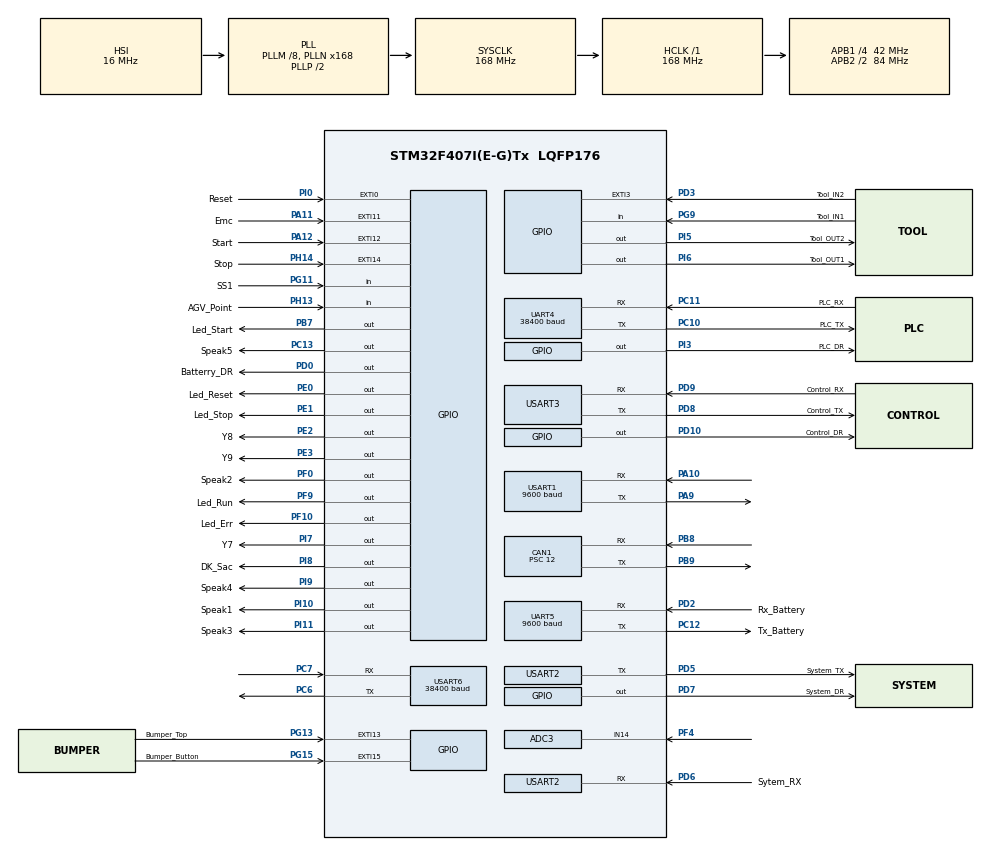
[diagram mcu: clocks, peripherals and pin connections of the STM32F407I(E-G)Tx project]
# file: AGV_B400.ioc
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ADC3.Channel-0\#ChannelRegularConversion=ADC_CHANNEL_14
ADC3.NbrOfConversionFlag=1
ADC3.Rank-0\#ChannelRegularConversion=1
ADC3.SamplingTime-0\#ChannelRegularConversion=ADC_SAMPLETIME_3CYCLES
CAN1.BS1=CAN_BS1_4TQ
CAN1.BS2=CAN_BS2_2TQ
CAN1.CalculateBaudRate=500000
CAN1.CalculateTimeBit=2000
CAN1.CalculateTimeQuantum=285.7142857142857
CAN1.Prescaler=12
Dma.ADC3.12.Direction=DMA_PERIPH_TO_MEMORY
Dma.ADC3.12.FIFOMode=DMA_FIFOMODE_DISABLE
Dma.ADC3.12.Instance=DMA2_Stream0
Dma.ADC3.12.MemDataAlignment=DMA_MDATAALIGN_HALFWORD
Dma.ADC3.12.MemInc=DMA_MINC_ENABLE
Dma.ADC3.12.Mode=DMA_NORMAL
Dma.ADC3.12.PeriphDataAlignment=DMA_PDATAALIGN_HALFWORD
Dma.ADC3.12.PeriphInc=DMA_PINC_DISABLE
Dma.ADC3.12.Priority=DMA_PRIORITY_LOW
Dma.Request0=UART4_RX
Dma.Request1=UART4_TX
Dma.Request10=USART6_RX
Dma.Request11=USART6_TX
Dma.Request12=ADC3
Dma.Request2=UART5_RX
Dma.Request3=UART5_TX
Dma.Request4=USART1_RX
Dma.Request5=USART1_TX
Dma.Request6=USART2_RX
Dma.Request7=USART2_TX
Dma.Request8=USART3_RX
Dma.Request9=USART3_TX
Dma.UART4_RX.0.Direction=DMA_PERIPH_TO_MEMORY
Dma.UART4_RX.0.FIFOMode=DMA_FIFOMODE_DISABLE
Dma.UART4_RX.0.Instance=DMA1_Stream2
Dma.UART4_RX.0.MemDataAlignment=DMA_MDATAALIGN_BYTE
Dma.UART4_RX.0.MemInc=DMA_MINC_ENABLE
Dma.UART4_RX.0.Mode=DMA_NORMAL
Dma.UART4_RX.0.PeriphDataAlignment=DMA_PDATAALIGN_BYTE
Dma.UART4_RX.0.PeriphInc=DMA_PINC_DISABLE
Dma.UART4_RX.0.Priority=DMA_PRIORITY_LOW
Dma.UART4_TX.1.Direction=DMA_MEMORY_TO_PERIPH
Dma.UART4_TX.1.FIFOMode=DMA_FIFOMODE_DISABLE
Dma.UART4_TX.1.Instance=DMA1_Stream4
Dma.UART4_TX.1.MemDataAlignment=DMA_MDATAALIGN_BYTE
Dma.UART4_TX.1.MemInc=DMA_MINC_ENABLE
Dma.UART4_TX.1.Mode=DMA_NORMAL
Dma.UART4_TX.1.PeriphDataAlignment=DMA_PDATAALIGN_BYTE
Dma.UART4_TX.1.PeriphInc=DMA_PINC_DISABLE
Dma.UART4_TX.1.Priority=DMA_PRIORITY_LOW
Dma.UART5_RX.2.Direction=DMA_PERIPH_TO_MEMORY
Dma.UART5_RX.2.FIFOMode=DMA_FIFOMODE_DISABLE
Dma.UART5_RX.2.Instance=DMA1_Stream0
Dma.UART5_RX.2.MemDataAlignment=DMA_MDATAALIGN_BYTE
Dma.UART5_RX.2.MemInc=DMA_MINC_ENABLE
Dma.UART5_RX.2.Mode=DMA_NORMAL
Dma.UART5_RX.2.PeriphDataAlignment=DMA_PDATAALIGN_BYTE
Dma.UART5_RX.2.PeriphInc=DMA_PINC_DISABLE
Dma.UART5_RX.2.Priority=DMA_PRIORITY_LOW
Dma.UART5_TX.3.Direction=DMA_MEMORY_TO_PERIPH
Dma.UART5_TX.3.FIFOMode=DMA_FIFOMODE_DISABLE
Dma.UART5_TX.3.Instance=DMA1_Stream7
Dma.UART5_TX.3.MemDataAlignment=DMA_MDATAALIGN_BYTE
Dma.UART5_TX.3.MemInc=DMA_MINC_ENABLE
Dma.UART5_TX.3.Mode=DMA_NORMAL
Dma.UART5_TX.3.PeriphDataAlignment=DMA_PDATAALIGN_BYTE
Dma.UART5_TX.3.PeriphInc=DMA_PINC_DISABLE
Dma.UART5_TX.3.Priority=DMA_PRIORITY_LOW
Dma.USART1_RX.4.Direction=DMA_PERIPH_TO_MEMORY
Dma.USART1_RX.4.FIFOMode=DMA_FIFOMODE_DISABLE
Dma.USART1_RX.4.Instance=DMA2_Stream2
Dma.USART1_RX.4.MemDataAlignment=DMA_MDATAALIGN_BYTE
Dma.USART1_RX.4.MemInc=DMA_MINC_ENABLE
Dma.USART1_RX.4.Mode=DMA_NORMAL
Dma.USART1_RX.4.PeriphDataAlignment=DMA_PDATAALIGN_BYTE
Dma.USART1_RX.4.PeriphInc=DMA_PINC_DISABLE
Dma.USART1_RX.4.Priority=DMA_PRIORITY_LOW
Dma.USART1_TX.5.Direction=DMA_MEMORY_TO_PERIPH
Dma.USART1_TX.5.FIFOMode=DMA_FIFOMODE_DISABLE
Dma.USART1_TX.5.Instance=DMA2_Stream7
Dma.USART1_TX.5.MemDataAlignment=DMA_MDATAALIGN_BYTE
Dma.USART1_TX.5.MemInc=DMA_MINC_ENABLE
Dma.USART1_TX.5.Mode=DMA_NORMAL
Dma.USART1_TX.5.PeriphDataAlignment=DMA_PDATAALIGN_BYTE
Dma.USART1_TX.5.PeriphInc=DMA_PINC_DISABLE
Dma.USART1_TX.5.Priority=DMA_PRIORITY_LOW
Dma.USART2_RX.6.Direction=DMA_PERIPH_TO_MEMORY
Dma.USART2_RX.6.FIFOMode=DMA_FIFOMODE_DISABLE
Dma.USART2_RX.6.Instance=DMA1_Stream5
Dma.USART2_RX.6.MemDataAlignment=DMA_MDATAALIGN_BYTE
Dma.USART2_RX.6.MemInc=DMA_MINC_ENABLE
Dma.USART2_RX.6.Mode=DMA_NORMAL
Dma.USART2_RX.6.PeriphDataAlignment=DMA_PDATAALIGN_BYTE
Dma.USART2_RX.6.PeriphInc=DMA_PINC_DISABLE
Dma.USART2_RX.6.Priority=DMA_PRIORITY_LOW
Dma.USART2_TX.7.Direction=DMA_MEMORY_TO_PERIPH
Dma.USART2_TX.7.FIFOMode=DMA_FIFOMODE_DISABLE
Dma.USART2_TX.7.Instance=DMA1_Stream6
Dma.USART2_TX.7.MemDataAlignment=DMA_MDATAALIGN_BYTE
Dma.USART2_TX.7.MemInc=DMA_MINC_ENABLE
Dma.USART2_TX.7.Mode=DMA_NORMAL
Dma.USART2_TX.7.PeriphDataAlignment=DMA_PDATAALIGN_BYTE
Dma.USART2_TX.7.PeriphInc=DMA_PINC_DISABLE
Dma.USART2_TX.7.Priority=DMA_PRIORITY_LOW
Dma.USART3_RX.8.Direction=DMA_PERIPH_TO_MEMORY
Dma.USART3_RX.8.FIFOMode=DMA_FIFOMODE_DISABLE
Dma.USART3_RX.8.Instance=DMA1_Stream1
Dma.USART3_RX.8.MemDataAlignment=DMA_MDATAALIGN_BYTE
Dma.USART3_RX.8.MemInc=DMA_MINC_ENABLE
Dma.USART3_RX.8.Mode=DMA_NORMAL
Dma.USART3_RX.8.PeriphDataAlignment=DMA_PDATAALIGN_BYTE
Dma.USART3_RX.8.PeriphInc=DMA_PINC_DISABLE
Dma.USART3_RX.8.Priority=DMA_PRIORITY_LOW
Dma.USART3_TX.9.Direction=DMA_MEMORY_TO_PERIPH
Dma.USART3_TX.9.FIFOMode=DMA_FIFOMODE_DISABLE
Dma.USART3_TX.9.Instance=DMA1_Stream3
Dma.USART3_TX.9.MemDataAlignment=DMA_MDATAALIGN_BYTE
Dma.USART3_TX.9.MemInc=DMA_MINC_ENABLE
Dma.USART3_TX.9.Mode=DMA_NORMAL
Dma.USART3_TX.9.PeriphDataAlignment=DMA_PDATAALIGN_BYTE
Dma.USART3_TX.9.PeriphInc=DMA_PINC_DISABLE
Dma.USART3_TX.9.Priority=DMA_PRIORITY_LOW
Dma.USART6_RX.10.Direction=DMA_PERIPH_TO_MEMORY
Dma.USART6_RX.10.FIFOMode=DMA_FIFOMODE_DISABLE
Dma.USART6_RX.10.Instance=DMA2_Stream1
Dma.USART6_RX.10.MemDataAlignment=DMA_MDATAALIGN_BYTE
Dma.USART6_RX.10.MemInc=DMA_MINC_ENABLE
Dma.USART6_RX.10.Mode=DMA_NORMAL
Dma.USART6_RX.10.PeriphDataAlignment=DMA_PDATAALIGN_BYTE
Dma.USART6_RX.10.PeriphInc=DMA_PINC_DISABLE
Dma.USART6_RX.10.Priority=DMA_PRIORITY_LOW
Dma.USART6_TX.11.Direction=DMA_MEMORY_TO_PERIPH
Dma.USART6_TX.11.FIFOMode=DMA_FIFOMODE_DISABLE
Dma.USART6_TX.11.Instance=DMA2_Stream6
Dma.USART6_TX.11.MemDataAlignment=DMA_MDATAALIGN_BYTE
Dma.USART6_TX.11.MemInc=DMA_MINC_ENABLE
Dma.USART6_TX.11.Mode=DMA_NORMAL
Dma.USART6_TX.11.PeriphDataAlignment=DMA_PDATAALIGN_BYTE
Dma.USART6_TX.11.PeriphInc=DMA_PINC_DISABLE
Dma.USART6_TX.11.Priority=DMA_PRIORITY_LOW
FREERTOS.Tasks01=AGV_RunTask,24,256,StartAGV_RunTask,Default,NULL,Dynamic,NULL,NULL;AGV_Read,24,128,AGV_ReadTask,Default,NULL,Dynamic,NULL,NULL;AGV_Control,24,128,StartTask03,Default,NULL,Dynamic,NULL,NULL;AGV_Emc,24,128,StartTask04,Default,NULL,Dynamic,NULL,NULL;Task_Normal,24,128,StartTask05,Default,NULL,Dynamic,NULL,NULL
Mcu.Family=STM32F4
Mcu.Name=STM32F407I(E-G)Tx
Mcu.Package=LQFP176
NVIC.ADC_IRQn=true\:5\:0\:false\:false\:true\:true\:true\:true\:true
NVIC.CAN1_RX0_IRQn=true\:8\:0\:true\:false\:true\:true\:true\:true\:true
NVIC.CAN1_TX_IRQn=true\:8\:0\:true\:false\:true\:true\:true\:true\:true
NVIC.DMA1_Stream0_IRQn=true\:5\:0\:false\:false\:true\:true\:false\:true\:true
NVIC.DMA1_Stream1_IRQn=true\:5\:0\:false\:false\:true\:true\:false\:true\:true
NVIC.DMA1_Stream2_IRQn=true\:5\:0\:false\:false\:true\:true\:false\:true\:true
NVIC.DMA1_Stream3_IRQn=true\:5\:0\:false\:false\:true\:true\:false\:true\:true
NVIC.DMA1_Stream4_IRQn=true\:5\:0\:false\:false\:true\:true\:false\:true\:true
NVIC.DMA1_Stream5_IRQn=true\:5\:0\:false\:false\:true\:true\:false\:true\:true
NVIC.DMA1_Stream6_IRQn=true\:5\:0\:false\:false\:true\:true\:false\:true\:true
NVIC.DMA1_Stream7_IRQn=true\:5\:0\:false\:false\:true\:true\:false\:true\:true
NVIC.DMA2_Stream0_IRQn=true\:5\:0\:false\:false\:true\:true\:false\:true\:true
NVIC.DMA2_Stream1_IRQn=true\:5\:0\:false\:false\:true\:true\:false\:true\:true
NVIC.DMA2_Stream2_IRQn=true\:5\:0\:false\:false\:true\:true\:false\:true\:true
NVIC.DMA2_Stream6_IRQn=true\:5\:0\:false\:false\:true\:true\:false\:true\:true
NVIC.DMA2_Stream7_IRQn=true\:5\:0\:false\:false\:true\:true\:false\:true\:true
NVIC.EXTI0_IRQn=true\:5\:0\:false\:false\:true\:true\:true\:true\:true
NVIC.EXTI15_10_IRQn=true\:5\:0\:true\:false\:true\:true\:true\:true\:true
NVIC.EXTI3_IRQn=true\:5\:0\:false\:false\:true\:true\:true\:true\:true
NVIC.PriorityGroup=NVIC_PRIORITYGROUP_4
NVIC.TIM1_BRK_TIM9_IRQn=true\:5\:0\:false\:false\:true\:true\:true\:true\:true
NVIC.TIM8_TRG_COM_TIM14_IRQn=true\:15\:0\:false\:false\:true\:false\:false\:true\:true
NVIC.TimeBase=TIM8_TRG_COM_TIM14_IRQn
NVIC.TimeBaseIP=TIM14
NVIC.UART4_IRQn=true\:5\:0\:false\:false\:true\:true\:true\:true\:true
NVIC.UART5_IRQn=true\:5\:0\:false\:false\:true\:true\:true\:true\:true
NVIC.USART1_IRQn=true\:5\:0\:false\:false\:true\:true\:true\:true\:true
NVIC.USART2_IRQn=true\:5\:0\:false\:false\:true\:true\:true\:true\:true
NVIC.USART3_IRQn=true\:5\:0\:false\:false\:true\:true\:true\:true\:true
NVIC.USART6_IRQn=true\:5\:0\:true\:false\:true\:true\:true\:true\:true
PA10.Mode=Asynchronous
PA10.Signal=USART1_RX
PA11.GPIO_Label=Emc
PA11.GPIO_ModeDefaultEXTI=GPIO_MODE_IT_RISING_FALLING
PA11.Signal=GPXTI11
PA12.GPIO_Label=Start
PA12.GPIO_ModeDefaultEXTI=GPIO_MODE_IT_FALLING
PA12.Signal=GPXTI12
PA13.Mode=Serial_Wire
PA13.Signal=SYS_JTMS-SWDIO
PA14.Mode=Serial_Wire
PA14.Signal=SYS_JTCK-SWCLK
PA9.Mode=Asynchronous
PA9.Signal=USART1_TX
PB7.GPIO_Label=Led_Start
PB7.Signal=GPIO_Output
PB8.Mode=CAN_Activate
PB8.Signal=CAN1_RX
PB9.Mode=CAN_Activate
PB9.Signal=CAN1_TX
PC10.GPIO_Label=PLC_TX
PC10.Mode=Asynchronous
PC10.Signal=UART4_TX
PC11.GPIO_Label=PLC_RX
PC11.Mode=Asynchronous
PC11.Signal=UART4_RX
PC12.GPIO_Label=Tx_Battery
PC12.Mode=Asynchronous
PC12.Signal=UART5_TX
PC13-ANTI_TAMP.GPIO_Label=Speak5
PC13-ANTI_TAMP.Signal=GPIO_Output
PC6.Mode=Asynchronous
PC6.Signal=USART6_TX
PC7.Mode=Asynchronous
PC7.Signal=USART6_RX
PD0.GPIO_Label=Batterry_DR
PD0.Signal=GPIO_Output
PD10.GPIO_Label=Control_DR
PD10.Signal=GPIO_Output
PD2.GPIO_Label=Rx_Battery
PD2.Mode=Asynchronous
PD2.Signal=UART5_RX
PD3.GPIO_Label=Tool_IN2
PD3.GPIO_ModeDefaultEXTI=GPIO_MODE_IT_FALLING
PD3.Signal=GPXTI3
PD5.GPIO_Label=System_TX
PD5.Mode=Asynchronous
PD5.Signal=USART2_TX
PD6.GPIO_Label=Sytem_RX
PD6.Mode=Asynchronous
PD6.Signal=USART2_RX
PD7.GPIO_Label=System_DR
PD7.Signal=GPIO_Output
PD8.GPIO_Label=Control_TX
PD8.Mode=Asynchronous
PD8.Signal=USART3_TX
PD9.GPIO_Label=Control_RX
PD9.Mode=Asynchronous
PD9.Signal=USART3_RX
PE0.GPIO_Label=Led_Reset
PE0.Signal=GPIO_Output
PE1.GPIO_Label=Led_Stop
PE1.Signal=GPIO_Output
PE2.GPIO_Label=Y8
PE2.Signal=GPIO_Output
PE3.GPIO_Label=Y9
PE3.Signal=GPIO_Output
PF0.GPIO_Label=Speak2
PF0.Signal=GPIO_Output
PF10.GPIO_Label=Led_Err
PF10.Signal=GPIO_Output
PF4.Mode=IN14
PF4.Signal=ADC3_IN14
PF9.GPIO_Label=Led_Run
PF9.Signal=GPIO_Output
PG11.GPIO_Label=SS1
PG11.Signal=GPIO_Input
PG13.GPIO_Label=Bumper_Top
PG13.GPIO_ModeDefaultEXTI=GPIO_MODE_IT_FALLING
PG13.Signal=GPXTI13
PG15.GPIO_Label=Bumper_Button
PG15.GPIO_ModeDefaultEXTI=GPIO_MODE_IT_FALLING
PG15.Signal=GPXTI15
PG9.GPIO_Label=Tool_IN1
PG9.Signal=GPIO_Input
PH0-OSC_IN.Mode=HSE-External-Oscillator
PH0-OSC_IN.Signal=RCC_OSC_IN
PH1-OSC_OUT.Mode=HSE-External-Oscillator
PH1-OSC_OUT.Signal=RCC_OSC_OUT
PH13.GPIO_Label=AGV_Point
PH13.Signal=GPIO_Input
PH14.GPIO_Label=Stop
PH14.GPIO_ModeDefaultEXTI=GPIO_MODE_IT_FALLING
PH14.Signal=GPXTI14
PI0.GPIO_Label=Reset
PI0.GPIO_ModeDefaultEXTI=GPIO_MODE_IT_FALLING
PI0.Signal=GPXTI0
PI10.GPIO_Label=Speak1
PI10.Signal=GPIO_Output
PI11.GPIO_Label=Speak3
PI11.Signal=GPIO_Output
PI3.GPIO_Label=PLC_DR
PI3.GPIO_Speed=GPIO_SPEED_FREQ_VERY_HIGH
PI3.Signal=GPIO_Output
PI5.GPIO_Label=Tool_OUT2
PI5.Signal=GPIO_Output
PI6.GPIO_Label=Tool_OUT1
PI6.Signal=GPIO_Output
PI7.GPIO_Label=Y7
PI7.Signal=GPIO_Output
PI8-\ ANTI\ TAMP2.GPIO_Label=DK_Sac
PI8-\ ANTI\ TAMP2.Signal=GPIO_Output
PI9.GPIO_Label=Speak4
PI9.Signal=GPIO_Output
ProjectManager.HeapSize=0x200
ProjectManager.StackSize=0x400
ProjectManager.TargetToolchain=MDK-ARM V5.32
RCC.48MHZClocksFreq_Value=84000000
RCC.AHBFreq_Value=168000000
RCC.APB1CLKDivider=RCC_HCLK_DIV4
RCC.APB1Freq_Value=42000000
RCC.APB1TimFreq_Value=84000000
RCC.APB2CLKDivider=RCC_HCLK_DIV2
RCC.APB2Freq_Value=84000000
RCC.APB2TimFreq_Value=168000000
RCC.CortexFreq_Value=168000000
RCC.HCLKFreq_Value=168000000
RCC.HSE_VALUE=8000000
RCC.HSI_VALUE=16000000
RCC.LSE_VALUE=32768
RCC.PLLM=8
RCC.PLLN=168
RCC.SYSCLKFreq_VALUE=168000000
RCC.SYSCLKSource=RCC_SYSCLKSOURCE_PLLCLK
RCC.VCOOutputFreq_Value=336000000
TIM9.Period=1999
TIM9.Prescaler=4199
UART4.BaudRate=38400
UART4.VirtualMode=Asynchronous
UART5.BaudRate=9600
UART5.VirtualMode=Asynchronous
USART1.BaudRate=9600
USART1.VirtualMode=VM_ASYNC
USART2.BaudRate=38400
USART2.VirtualMode=VM_ASYNC
USART3.VirtualMode=VM_ASYNC
USART6.BaudRate=38400
USART6.VirtualMode=VM_ASYNC
VP_FREERTOS_VS_CMSIS_V2.Mode=CMSIS_V2
VP_SYS_VS_tim14.Mode=TIM14
VP_TIM9_VS_ClockSourceINT.Mode=Internal
board=custom

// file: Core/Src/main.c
/* USER CODE BEGIN Header */
/**
  ******************************************************************************
  * @file           : main.c
  * @brief          : Main program body
  ******************************************************************************
  * @attention
  *
  * Copyright (c) 2022 STMicroelectronics.
  * All rights reserved.
  *
  * This software is licensed under terms that can be found in the LICENSE file
  * in the root directory of this software component.
  * If no LICENSE file comes with this software, it is provided AS-IS.
  *
  ******************************************************************************
  */
/* USER CODE END Header */
#include "main.h"
#include "cmsis_os.h"

/* USER CODE BEGIN Includes */
#include "ESA_Control.h"
bool stop = false,lock = false;
extern bool count_tool_en;
extern uint8_t count_tool;

extern float  Speed_Set;

uint8_t cnt_speak = 0,song = 0;
/* USER CODE END Includes */

/* USER CODE BEGIN PTD */
modbusHandler_t Control_Port;
uint16_t usSReg_Control_Write[19];
uint16_t usSReg_Control_Read[49];

modbusHandler_t Battery_Port;
uint16_t usSReg_Battery[41];

modbusHandler_t System_Port;
uint16_t usSReg_System[44];

modbusHandler_t PLC_Port;
uint16_t usSReg_PLC[15];

modbusHandler_t Charge_Port;
uint16_t usSReg_Charge[5];

uint8_t AGV_Running;
uint8_t AGV_Run_save;

/* USER CODE END PTD */

 ADC_HandleTypeDef hadc3;
DMA_HandleTypeDef hdma_adc3;

CAN_HandleTypeDef hcan1;

TIM_HandleTypeDef htim9;

UART_HandleTypeDef huart4;
UART_HandleTypeDef huart5;
UART_HandleTypeDef huart1;
UART_HandleTypeDef huart2;
UART_HandleTypeDef huart3;
UART_HandleTypeDef huart6;
DMA_HandleTypeDef hdma_uart4_rx;
DMA_HandleTypeDef hdma_uart4_tx;
DMA_HandleTypeDef hdma_uart5_rx;
DMA_HandleTypeDef hdma_uart5_tx;
DMA_HandleTypeDef hdma_usart1_rx;
DMA_HandleTypeDef hdma_usart1_tx;
DMA_HandleTypeDef hdma_usart2_rx;
DMA_HandleTypeDef hdma_usart2_tx;
DMA_HandleTypeDef hdma_usart3_rx;
DMA_HandleTypeDef hdma_usart3_tx;
DMA_HandleTypeDef hdma_usart6_rx;
DMA_HandleTypeDef hdma_usart6_tx;

/* Definitions for AGV_RunTask */
osThreadId_t AGV_RunTaskHandle;
const osThreadAttr_t AGV_RunTask_attributes = {
  .name = "AGV_RunTask",
  .stack_size = 256 * 4,
  .priority = (osPriority_t) osPriorityNormal,
};
/* Definitions for AGV_Read */
osThreadId_t AGV_ReadHandle;
const osThreadAttr_t AGV_Read_attributes = {
  .name = "AGV_Read",
  .stack_size = 128 * 4,
  .priority = (osPriority_t) osPriorityNormal,
};
/* Definitions for AGV_Control */
osThreadId_t AGV_ControlHandle;
const osThreadAttr_t AGV_Control_attributes = {
  .name = "AGV_Control",
  .stack_size = 128 * 4,
  .priority = (osPriority_t) osPriorityNormal,
};
/* Definitions for AGV_Emc */
osThreadId_t AGV_EmcHandle;
const osThreadAttr_t AGV_Emc_attributes = {
  .name = "AGV_Emc",
  .stack_size = 128 * 4,
  .priority = (osPriority_t) osPriorityNormal,
};
/* Definitions for Task_Normal */
osThreadId_t Task_NormalHandle;
const osThreadAttr_t Task_Normal_attributes = {
  .name = "Task_Normal",
  .stack_size = 128 * 4,
  .priority = (osPriority_t) osPriorityNormal,
};

void SystemClock_Config(void);
static void MX_GPIO_Init(void);
static void MX_DMA_Init(void);
static void MX_CAN1_Init(void);
static void MX_UART4_Init(void);
static void MX_UART5_Init(void);
static void MX_USART1_UART_Init(void);
static void MX_USART2_UART_Init(void);
static void MX_USART3_UART_Init(void);
static void MX_USART6_UART_Init(void);
static void MX_ADC3_Init(void);
static void MX_TIM9_Init(void);
void StartAGV_RunTask(void *argument);
void AGV_ReadTask(void *argument);
void StartTask03(void *argument);
void StartTask04(void *argument);
void StartTask05(void *argument);

/* USER CODE BEGIN PFP */
void MX_FREERTOS_Init(void);

/* USER CODE END PFP */

int main(void)
{

  /* MCU Configuration--------------------------------------------------------*/

  /* Reset of all peripherals, Initializes the Flash interface and the Systick. */
  HAL_Init();

  /* Configure the system clock */
  SystemClock_Config();

  /* Initialize all configured peripherals */
  MX_GPIO_Init();
  MX_DMA_Init();
  MX_CAN1_Init();
  MX_UART4_Init();
  MX_UART5_Init();
  MX_USART1_UART_Init();
  MX_USART2_UART_Init();
  MX_USART3_UART_Init();
  MX_USART6_UART_Init();
  MX_ADC3_Init();
  MX_TIM9_Init();
  /* USER CODE BEGIN 2 */
	MY_FLASH_SetSectorAddrs(11, 0x080E0000);
	HAL_TIM_Base_Start_IT(&htim9);
	AGV_Init();
	ME_4341_Init();
	/* Control initialization */
  Control_Port.uModbusType = MB_MASTER;
  Control_Port.port 			 =  &huart3;
  Control_Port.u8id 			 = 0; // For master it must be 0
  Control_Port.u16timeOut  = 1000;
  Control_Port.EN_Port 		 = Control_DR_GPIO_Port;
  Control_Port.EN_Pin  		 = Control_DR_Pin;
  Control_Port.u16regs 		 = usSReg_Control_Read;
  Control_Port.u16regsize  = sizeof(usSReg_Control_Read)/sizeof(usSReg_Control_Read[0]);
  Control_Port.xTypeHW 		 = USART_HW_DMA;
  //Initialize Modbus library
  ModbusInit(&Control_Port);
  //Start capturing traffic on serial Port
  ModbusStart(&Control_Port);
	/***********/

	/* SYSTEM initialization */
  System_Port.uModbusType = MB_SLAVE;
  System_Port.port 				= &huart6;
  System_Port.u8id 				= 1; // Formaster it must be 0
  System_Port.u16timeOut  = 1000;
  System_Port.EN_Port 		= NULL;
  System_Port.EN_Pin 			= 0;
  System_Port.u16regs 		= usSReg_System;
  System_Port.u16regsize	= sizeof(usSReg_System)/sizeof(usSReg_System[0]);
  System_Port.xTypeHW 		= USART_HW_DMA;
  //Initialize Modbus library
  ModbusInit(&System_Port);

  //Start capturing traffic on serial Port
  ModbusStart(&System_Port);
	/***********/

	/* PLC initialization */
  PLC_Port.uModbusType 	= MB_SLAVE;
  PLC_Port.port 				= &huart4;
  PLC_Port.u8id 				= 3; // For master it must be 0
  PLC_Port.u16timeOut 	= 1000;
  PLC_Port.EN_Port 			= PLC_DR_GPIO_Port; //System_DR_GPIO_Port;
  PLC_Port.EN_Pin 			= PLC_DR_Pin;
  PLC_Port.u16regs 			= usSReg_PLC;
  PLC_Port.u16regsize		= sizeof(usSReg_PLC)/sizeof(usSReg_PLC[0]);
  PLC_Port.xTypeHW 			= USART_HW_DMA;
  //Initialize Modbus library
  ModbusInit(&PLC_Port);
  //Start capturing traffic on serial Port
  ModbusStart(&PLC_Port);
	/***********/

	/* Charge initialization */
  Charge_Port.uModbusType 	= MB_SLAVE;
  Charge_Port.port 					= &huart1;
  Charge_Port.u8id 					= 27; // For master it must be 0
  Charge_Port.u16timeOut 		= 1000;
  Charge_Port.EN_Port 			= NULL;
  Charge_Port.EN_Pin 				= 0;
  Charge_Port.u16regs 			= usSReg_Charge;
  Charge_Port.u16regsize		= sizeof(usSReg_Charge)/sizeof(usSReg_Charge[0]);
  Charge_Port.xTypeHW 			= USART_HW_DMA;
  //Initialize Modbus library
  ModbusInit(&Charge_Port);
  //Start capturing traffic on serial Port
  ModbusStart(&Charge_Port);
	/***********/

	/*Battery initialization */
  Battery_Port.uModbusType 	= MB_MASTER;
  Battery_Port.port 				= &huart5;
  Battery_Port.u8id 				= 0; // For master it must be 0
  Battery_Port.u16timeOut 	= 1000;
  Battery_Port.EN_Port 			= Batterry_DR_GPIO_Port;
  Battery_Port.EN_Pin 			= Batterry_DR_Pin;
  Battery_Port.u16regs 			= usSReg_Battery;
  Battery_Port.u16regsize		= sizeof(usSReg_Battery)/sizeof(usSReg_Battery[0]);
  Battery_Port.xTypeHW 			= USART_HW_DMA;
  //Initialize Modbus library
  ModbusInit(&Battery_Port);
  //Start capturing traffic on serial Port
  ModbusStart(&Battery_Port);
	/***********/

  /* USER CODE END 2 */

  /* Init scheduler */
  osKernelInitialize();

  /* Create the thread(s) */
  /* creation of AGV_RunTask */
  AGV_RunTaskHandle = osThreadNew(StartAGV_RunTask, NULL, &AGV_RunTask_attributes);

  /* creation of AGV_Read */
  AGV_ReadHandle = osThreadNew(AGV_ReadTask, NULL, &AGV_Read_attributes);

  /* creation of AGV_Control */
  AGV_ControlHandle = osThreadNew(StartTask03, NULL, &AGV_Control_attributes);

  /* creation of AGV_Emc */
  AGV_EmcHandle = osThreadNew(StartTask04, NULL, &AGV_Emc_attributes);

  /* creation of Task_Normal */
  Task_NormalHandle = osThreadNew(StartTask05, NULL, &Task_Normal_attributes);

  /* USER CODE BEGIN RTOS_THREADS */
  /* add threads, ... */
	MX_FREERTOS_Init();
  /* USER CODE END RTOS_THREADS */

  /* Start scheduler */

	Tool_Control(0);
	HAL_GPIO_WritePin(Speak1_GPIO_Port,Speak1_Pin,GPIO_PIN_RESET);
	HAL_GPIO_WritePin(Speak2_GPIO_Port,Speak2_Pin,GPIO_PIN_SET);
	HAL_GPIO_WritePin(Speak3_GPIO_Port,Speak3_Pin,GPIO_PIN_RESET);
	HAL_GPIO_WritePin(Speak4_GPIO_Port,Speak4_Pin,GPIO_PIN_SET);
	HAL_GPIO_WritePin(Speak5_GPIO_Port,Speak5_Pin,GPIO_PIN_SET);
	HAL_Delay(5000);
	usSReg_System[0] = 0;
	usSReg_System[1] = 0;
	usSReg_System[2] = 0;
	usSReg_System[3] = 0;
	usSReg_System[4] = 0;
	Taget_status = 1;
  osKernelStart();

  /* We should never get here as control is now taken by the scheduler */
  /* Infinite loop */
  while (1)
  {

  }
}

void SystemClock_Config(void)
{
  RCC_OscInitTypeDef RCC_OscInitStruct = {0};
  RCC_ClkInitTypeDef RCC_ClkInitStruct = {0};

  /** Configure the main internal regulator output voltage
  */
  __HAL_RCC_PWR_CLK_ENABLE();
  __HAL_PWR_VOLTAGESCALING_CONFIG(PWR_REGULATOR_VOLTAGE_SCALE1);

  /** Initializes the RCC Oscillators according to the specified parameters
  * in the RCC_OscInitTypeDef structure.
  */
  RCC_OscInitStruct.OscillatorType = RCC_OSCILLATORTYPE_HSI;
  RCC_OscInitStruct.HSIState = RCC_HSI_ON;
  RCC_OscInitStruct.HSICalibrationValue = RCC_HSICALIBRATION_DEFAULT;
  RCC_OscInitStruct.PLL.PLLState = RCC_PLL_ON;
  RCC_OscInitStruct.PLL.PLLSource = RCC_PLLSOURCE_HSI;
  RCC_OscInitStruct.PLL.PLLM = 8;
  RCC_OscInitStruct.PLL.PLLN = 168;
  RCC_OscInitStruct.PLL.PLLP = RCC_PLLP_DIV2;
  RCC_OscInitStruct.PLL.PLLQ = 4;
  if (HAL_RCC_OscConfig(&RCC_OscInitStruct) != HAL_OK)
  {
    Error_Handler();
  }

  /** Initializes the CPU, AHB and APB buses clocks
  */
  RCC_ClkInitStruct.ClockType = RCC_CLOCKTYPE_HCLK|RCC_CLOCKTYPE_SYSCLK
                              |RCC_CLOCKTYPE_PCLK1|RCC_CLOCKTYPE_PCLK2;
  RCC_ClkInitStruct.SYSCLKSource = RCC_SYSCLKSOURCE_PLLCLK;
  RCC_ClkInitStruct.AHBCLKDivider = RCC_SYSCLK_DIV1;
  RCC_ClkInitStruct.APB1CLKDivider = RCC_HCLK_DIV4;
  RCC_ClkInitStruct.APB2CLKDivider = RCC_HCLK_DIV2;

  if (HAL_RCC_ClockConfig(&RCC_ClkInitStruct, FLASH_LATENCY_5) != HAL_OK)
  {
    Error_Handler();
  }
}

static void MX_ADC3_Init(void)
{

  ADC_ChannelConfTypeDef sConfig = {0};

  /** Configure the global features of the ADC (Clock, Resolution, Data Alignment and number of conversion)
  */
  hadc3.Instance = ADC3;
  hadc3.Init.ClockPrescaler = ADC_CLOCK_SYNC_PCLK_DIV4;
  hadc3.Init.Resolution = ADC_RESOLUTION_12B;
  hadc3.Init.ScanConvMode = DISABLE;
  hadc3.Init.ContinuousConvMode = DISABLE;
  hadc3.Init.DiscontinuousConvMode = DISABLE;
  hadc3.Init.ExternalTrigConvEdge = ADC_EXTERNALTRIGCONVEDGE_NONE;
  hadc3.Init.ExternalTrigConv = ADC_SOFTWARE_START;
  hadc3.Init.DataAlign = ADC_DATAALIGN_RIGHT;
  hadc3.Init.NbrOfConversion = 1;
  hadc3.Init.DMAContinuousRequests = DISABLE;
  hadc3.Init.EOCSelection = ADC_EOC_SINGLE_CONV;
  if (HAL_ADC_Init(&hadc3) != HAL_OK)
  {
    Error_Handler();
  }

  /** Configure for the selected ADC regular channel its corresponding rank in the sequencer and its sample time.
  */
  sConfig.Channel = ADC_CHANNEL_14;
  sConfig.Rank = 1;
  sConfig.SamplingTime = ADC_SAMPLETIME_3CYCLES;
  if (HAL_ADC_ConfigChannel(&hadc3, &sConfig) != HAL_OK)
  {
    Error_Handler();
  }

}

static void MX_CAN1_Init(void)
{

  hcan1.Instance = CAN1;
  hcan1.Init.Prescaler = 12;
  hcan1.Init.Mode = CAN_MODE_NORMAL;
  hcan1.Init.SyncJumpWidth = CAN_SJW_1TQ;
  hcan1.Init.TimeSeg1 = CAN_BS1_4TQ;
  hcan1.Init.TimeSeg2 = CAN_BS2_2TQ;
  hcan1.Init.TimeTriggeredMode = DISABLE;
  hcan1.Init.AutoBusOff = DISABLE;
  hcan1.Init.AutoWakeUp = DISABLE;
  hcan1.Init.AutoRetransmission = DISABLE;
  hcan1.Init.ReceiveFifoLocked = DISABLE;
  hcan1.Init.TransmitFifoPriority = DISABLE;
  if (HAL_CAN_Init(&hcan1) != HAL_OK)
  {
    Error_Handler();
  }

}

static void MX_TIM9_Init(void)
{

  TIM_ClockConfigTypeDef sClockSourceConfig = {0};

  htim9.Instance = TIM9;
  htim9.Init.Prescaler = 4199;
  htim9.Init.CounterMode = TIM_COUNTERMODE_UP;
  htim9.Init.Period = 1999;
  htim9.Init.ClockDivision = TIM_CLOCKDIVISION_DIV1;
  htim9.Init.AutoReloadPreload = TIM_AUTORELOAD_PRELOAD_DISABLE;
  if (HAL_TIM_Base_Init(&htim9) != HAL_OK)
  {
    Error_Handler();
  }
  sClockSourceConfig.ClockSource = TIM_CLOCKSOURCE_INTERNAL;
  if (HAL_TIM_ConfigClockSource(&htim9, &sClockSourceConfig) != HAL_OK)
  {
    Error_Handler();
  }

}

static void MX_UART4_Init(void)
{

  huart4.Instance = UART4;
  huart4.Init.BaudRate = 38400;
  huart4.Init.WordLength = UART_WORDLENGTH_8B;
  huart4.Init.StopBits = UART_STOPBITS_1;
  huart4.Init.Parity = UART_PARITY_NONE;
  huart4.Init.Mode = UART_MODE_TX_RX;
  huart4.Init.HwFlowCtl = UART_HWCONTROL_NONE;
  huart4.Init.OverSampling = UART_OVERSAMPLING_16;
  if (HAL_UART_Init(&huart4) != HAL_OK)
  {
    Error_Handler();
  }

}

static void MX_UART5_Init(void)
{

  huart5.Instance = UART5;
  huart5.Init.BaudRate = 9600;
  huart5.Init.WordLength = UART_WORDLENGTH_8B;
  huart5.Init.StopBits = UART_STOPBITS_1;
  huart5.Init.Parity = UART_PARITY_NONE;
  huart5.Init.Mode = UART_MODE_TX_RX;
  huart5.Init.HwFlowCtl = UART_HWCONTROL_NONE;
  huart5.Init.OverSampling = UART_OVERSAMPLING_16;
  if (HAL_UART_Init(&huart5) != HAL_OK)
  {
    Error_Handler();
  }

}

static void MX_USART1_UART_Init(void)
{

  huart1.Instance = USART1;
  huart1.Init.BaudRate = 9600;
  huart1.Init.WordLength = UART_WORDLENGTH_8B;
  huart1.Init.StopBits = UART_STOPBITS_1;
  huart1.Init.Parity = UART_PARITY_NONE;
  huart1.Init.Mode = UART_MODE_TX_RX;
  huart1.Init.HwFlowCtl = UART_HWCONTROL_NONE;
  huart1.Init.OverSampling = UART_OVERSAMPLING_16;
  if (HAL_UART_Init(&huart1) != HAL_OK)
  {
    Error_Handler();
  }

}

static void MX_USART2_UART_Init(void)
{

  huart2.Instance = USART2;
  huart2.Init.BaudRate = 38400;
  huart2.Init.WordLength = UART_WORDLENGTH_8B;
  huart2.Init.StopBits = UART_STOPBITS_1;
  huart2.Init.Parity = UART_PARITY_NONE;
  huart2.Init.Mode = UART_MODE_TX_RX;
  huart2.Init.HwFlowCtl = UART_HWCONTROL_NONE;
  huart2.Init.OverSampling = UART_OVERSAMPLING_16;
  if (HAL_UART_Init(&huart2) != HAL_OK)
  {
    Error_Handler();
  }

}

static void MX_USART3_UART_Init(void)
{

  huart3.Instance = USART3;
  huart3.Init.BaudRate = 115200;
  huart3.Init.WordLength = UART_WORDLENGTH_8B;
  huart3.Init.StopBits = UART_STOPBITS_1;
  huart3.Init.Parity = UART_PARITY_NONE;
  huart3.Init.Mode = UART_MODE_TX_RX;
  huart3.Init.HwFlowCtl = UART_HWCONTROL_NONE;
  huart3.Init.OverSampling = UART_OVERSAMPLING_16;
  if (HAL_UART_Init(&huart3) != HAL_OK)
  {
    Error_Handler();
  }

}

static void MX_USART6_UART_Init(void)
{

  huart6.Instance = USART6;
  huart6.Init.BaudRate = 38400;
  huart6.Init.WordLength = UART_WORDLENGTH_8B;
  huart6.Init.StopBits = UART_STOPBITS_1;
  huart6.Init.Parity = UART_PARITY_NONE;
  huart6.Init.Mode = UART_MODE_TX_RX;
  huart6.Init.HwFlowCtl = UART_HWCONTROL_NONE;
  huart6.Init.OverSampling = UART_OVERSAMPLING_16;
  if (HAL_UART_Init(&huart6) != HAL_OK)
  {
    Error_Handler();
  }

}

static void MX_DMA_Init(void)
{

  /* DMA controller clock enable */
  __HAL_RCC_DMA1_CLK_ENABLE();
  __HAL_RCC_DMA2_CLK_ENABLE();

  /* DMA interrupt init */
  /* DMA1_Stream0_IRQn interrupt configuration */
  HAL_NVIC_SetPriority(DMA1_Stream0_IRQn, 5, 0);
  HAL_NVIC_EnableIRQ(DMA1_Stream0_IRQn);
  /* DMA1_Stream1_IRQn interrupt configuration */
  HAL_NVIC_SetPriority(DMA1_Stream1_IRQn, 5, 0);
  HAL_NVIC_EnableIRQ(DMA1_Stream1_IRQn);
  /* DMA1_Stream2_IRQn interrupt configuration */
  HAL_NVIC_SetPriority(DMA1_Stream2_IRQn, 5, 0);
  HAL_NVIC_EnableIRQ(DMA1_Stream2_IRQn);
  /* DMA1_Stream3_IRQn interrupt configuration */
  HAL_NVIC_SetPriority(DMA1_Stream3_IRQn, 5, 0);
  HAL_NVIC_EnableIRQ(DMA1_Stream3_IRQn);
  /* DMA1_Stream4_IRQn interrupt configuration */
  HAL_NVIC_SetPriority(DMA1_Stream4_IRQn, 5, 0);
  HAL_NVIC_EnableIRQ(DMA1_Stream4_IRQn);
  /* DMA1_Stream5_IRQn interrupt configuration */
  HAL_NVIC_SetPriority(DMA1_Stream5_IRQn, 5, 0);
  HAL_NVIC_EnableIRQ(DMA1_Stream5_IRQn);
  /* DMA1_Stream6_IRQn interrupt configuration */
  HAL_NVIC_SetPriority(DMA1_Stream6_IRQn, 5, 0);
  HAL_NVIC_EnableIRQ(DMA1_Stream6_IRQn);
  /* DMA1_Stream7_IRQn interrupt configuration */
  HAL_NVIC_SetPriority(DMA1_Stream7_IRQn, 5, 0);
  HAL_NVIC_EnableIRQ(DMA1_Stream7_IRQn);
  /* DMA2_Stream0_IRQn interrupt configuration */
  HAL_NVIC_SetPriority(DMA2_Stream0_IRQn, 5, 0);
  HAL_NVIC_EnableIRQ(DMA2_Stream0_IRQn);
  /* DMA2_Stream1_IRQn interrupt configuration */
  HAL_NVIC_SetPriority(DMA2_Stream1_IRQn, 5, 0);
  HAL_NVIC_EnableIRQ(DMA2_Stream1_IRQn);
  /* DMA2_Stream2_IRQn interrupt configuration */
  HAL_NVIC_SetPriority(DMA2_Stream2_IRQn, 5, 0);
  HAL_NVIC_EnableIRQ(DMA2_Stream2_IRQn);
  /* DMA2_Stream6_IRQn interrupt configuration */
  HAL_NVIC_SetPriority(DMA2_Stream6_IRQn, 5, 0);
  HAL_NVIC_EnableIRQ(DMA2_Stream6_IRQn);
  /* DMA2_Stream7_IRQn interrupt configuration */
  HAL_NVIC_SetPriority(DMA2_Stream7_IRQn, 5, 0);
  HAL_NVIC_EnableIRQ(DMA2_Stream7_IRQn);

}

static void MX_GPIO_Init(void)
{
  GPIO_InitTypeDef GPIO_InitStruct = {0};

  /* GPIO Ports Clock Enable */
  __HAL_RCC_GPIOE_CLK_ENABLE();
  __HAL_RCC_GPIOI_CLK_ENABLE();
  __HAL_RCC_GPIOC_CLK_ENABLE();
  __HAL_RCC_GPIOF_CLK_ENABLE();
  __HAL_RCC_GPIOH_CLK_ENABLE();
  __HAL_RCC_GPIOD_CLK_ENABLE();
  __HAL_RCC_GPIOA_CLK_ENABLE();
  __HAL_RCC_GPIOG_CLK_ENABLE();
  __HAL_RCC_GPIOB_CLK_ENABLE();

  /*Configure GPIO pin Output Level */
  HAL_GPIO_WritePin(GPIOE, Y8_Pin|Y9_Pin|Led_Reset_Pin|Led_Stop_Pin, GPIO_PIN_RESET);

  /*Configure GPIO pin Output Level */
  HAL_GPIO_WritePin(GPIOI, DK_Sac_Pin|PLC_DR_Pin|Tool_OUT2_Pin|Tool_OUT1_Pin|Y7_Pin, GPIO_PIN_RESET);

	HAL_GPIO_WritePin(GPIOI,Speak1_Pin | Speak3_Pin | Speak4_Pin ,GPIO_PIN_SET);

  /*Configure GPIO pin Output Level */
  HAL_GPIO_WritePin(Speak5_GPIO_Port, Speak5_Pin, GPIO_PIN_SET);

  /*Configure GPIO pin Output Level */

  HAL_GPIO_WritePin(GPIOF, Led_Run_Pin|Led_Err_Pin, GPIO_PIN_RESET);

	HAL_GPIO_WritePin(Speak2_GPIO_Port,Speak2_Pin,GPIO_PIN_SET);

  /*Configure GPIO pin Output Level */
  HAL_GPIO_WritePin(GPIOD, Control_DR_Pin|Batterry_DR_Pin|System_DR_Pin, GPIO_PIN_RESET);

  /*Configure GPIO pin Output Level */
  HAL_GPIO_WritePin(Led_Start_GPIO_Port, Led_Start_Pin, GPIO_PIN_RESET);

  /*Configure GPIO pins : Y8_Pin Y9_Pin Led_Reset_Pin Led_Stop_Pin */
  GPIO_InitStruct.Pin = Y8_Pin|Y9_Pin|Led_Reset_Pin|Led_Stop_Pin;
  GPIO_InitStruct.Mode = GPIO_MODE_OUTPUT_PP;
  GPIO_InitStruct.Pull = GPIO_NOPULL;
  GPIO_InitStruct.Speed = GPIO_SPEED_FREQ_LOW;
  HAL_GPIO_Init(GPIOE, &GPIO_InitStruct);

  /*Configure GPIO pins : DK_Sac_Pin Speak4_Pin Speak1_Pin Speak3_Pin
                           Tool_OUT2_Pin Tool_OUT1_Pin Y7_Pin */
  GPIO_InitStruct.Pin = DK_Sac_Pin|Speak4_Pin|Speak1_Pin|Speak3_Pin
                          |Tool_OUT2_Pin|Tool_OUT1_Pin|Y7_Pin;
  GPIO_InitStruct.Mode = GPIO_MODE_OUTPUT_PP;
  GPIO_InitStruct.Pull = GPIO_NOPULL;
  GPIO_InitStruct.Speed = GPIO_SPEED_FREQ_LOW;
  HAL_GPIO_Init(GPIOI, &GPIO_InitStruct);

  /*Configure GPIO pin : Speak5_Pin */
  GPIO_InitStruct.Pin = Speak5_Pin;
  GPIO_InitStruct.Mode = GPIO_MODE_OUTPUT_PP;
  GPIO_InitStruct.Pull = GPIO_NOPULL;
  GPIO_InitStruct.Speed = GPIO_SPEED_FREQ_LOW;
  HAL_GPIO_Init(Speak5_GPIO_Port, &GPIO_InitStruct);

  /*Configure GPIO pins : Speak2_Pin Led_Run_Pin Led_Err_Pin */
  GPIO_InitStruct.Pin = Speak2_Pin|Led_Run_Pin|Led_Err_Pin;
  GPIO_InitStruct.Mode = GPIO_MODE_OUTPUT_PP;
  GPIO_InitStruct.Pull = GPIO_NOPULL;
  GPIO_InitStruct.Speed = GPIO_SPEED_FREQ_LOW;
  HAL_GPIO_Init(GPIOF, &GPIO_InitStruct);

  /*Configure GPIO pins : Control_DR_Pin Batterry_DR_Pin System_DR_Pin */
  GPIO_InitStruct.Pin = Control_DR_Pin|Batterry_DR_Pin|System_DR_Pin;
  GPIO_InitStruct.Mode = GPIO_MODE_OUTPUT_PP;
  GPIO_InitStruct.Pull = GPIO_NOPULL;
  GPIO_InitStruct.Speed = GPIO_SPEED_FREQ_LOW;
  HAL_GPIO_Init(GPIOD, &GPIO_InitStruct);

  /*Configure GPIO pin : Emc_Pin */
  GPIO_InitStruct.Pin = Emc_Pin;
  GPIO_InitStruct.Mode = GPIO_MODE_IT_RISING_FALLING;
  GPIO_InitStruct.Pull = GPIO_NOPULL;
  HAL_GPIO_Init(Emc_GPIO_Port, &GPIO_InitStruct);

  /*Configure GPIO pin : Start_Pin */
  GPIO_InitStruct.Pin = Start_Pin;
  GPIO_InitStruct.Mode = GPIO_MODE_IT_FALLING;
  GPIO_InitStruct.Pull = GPIO_NOPULL;
  HAL_GPIO_Init(Start_GPIO_Port, &GPIO_InitStruct);

  /*Configure GPIO pin : AGV_Point_Pin */
  GPIO_InitStruct.Pin = AGV_Point_Pin;
  GPIO_InitStruct.Mode = GPIO_MODE_INPUT;
  GPIO_InitStruct.Pull = GPIO_NOPULL;
  HAL_GPIO_Init(AGV_Point_GPIO_Port, &GPIO_InitStruct);

  /*Configure GPIO pin : Stop_Pin */
  GPIO_InitStruct.Pin = Stop_Pin;
  GPIO_InitStruct.Mode = GPIO_MODE_IT_FALLING;
  GPIO_InitStruct.Pull = GPIO_NOPULL;
  HAL_GPIO_Init(Stop_GPIO_Port, &GPIO_InitStruct);

  /*Configure GPIO pin : Reset_Pin */
  GPIO_InitStruct.Pin = Reset_Pin;
  GPIO_InitStruct.Mode = GPIO_MODE_IT_FALLING;
  GPIO_InitStruct.Pull = GPIO_NOPULL;
  HAL_GPIO_Init(Reset_GPIO_Port, &GPIO_InitStruct);

  /*Configure GPIO pin : PLC_DR_Pin */
  GPIO_InitStruct.Pin = PLC_DR_Pin;
  GPIO_InitStruct.Mode = GPIO_MODE_OUTPUT_PP;
  GPIO_InitStruct.Pull = GPIO_NOPULL;
  GPIO_InitStruct.Speed = GPIO_SPEED_FREQ_VERY_HIGH;
  HAL_GPIO_Init(PLC_DR_GPIO_Port, &GPIO_InitStruct);

  /*Configure GPIO pin : Tool_IN2_Pin */
  GPIO_InitStruct.Pin = Tool_IN2_Pin;
  GPIO_InitStruct.Mode = GPIO_MODE_IT_FALLING;
  GPIO_InitStruct.Pull = GPIO_NOPULL;
  HAL_GPIO_Init(Tool_IN2_GPIO_Port, &GPIO_InitStruct);

  /*Configure GPIO pins : Tool_IN1_Pin SS1_Pin */
  GPIO_InitStruct.Pin = Tool_IN1_Pin|SS1_Pin;
  GPIO_InitStruct.Mode = GPIO_MODE_INPUT;
  GPIO_InitStruct.Pull = GPIO_NOPULL;
  HAL_GPIO_Init(GPIOG, &GPIO_InitStruct);

  /*Configure GPIO pins : Bumper_Top_Pin Bumper_Button_Pin */
  GPIO_InitStruct.Pin = Bumper_Top_Pin|Bumper_Button_Pin;
  GPIO_InitStruct.Mode = GPIO_MODE_IT_FALLING;
  GPIO_InitStruct.Pull = GPIO_NOPULL;
  HAL_GPIO_Init(GPIOG, &GPIO_InitStruct);

  /*Configure GPIO pin : Led_Start_Pin */
  GPIO_InitStruct.Pin = Led_Start_Pin;
  GPIO_InitStruct.Mode = GPIO_MODE_OUTPUT_PP;
  GPIO_InitStruct.Pull = GPIO_NOPULL;
  GPIO_InitStruct.Speed = GPIO_SPEED_FREQ_LOW;
  HAL_GPIO_Init(Led_Start_GPIO_Port, &GPIO_InitStruct);

	HAL_GPIO_WritePin(Speak1_GPIO_Port,Speak1_Pin,GPIO_PIN_RESET);
	HAL_GPIO_WritePin(Speak2_GPIO_Port,Speak2_Pin,GPIO_PIN_SET);
	HAL_GPIO_WritePin(Speak3_GPIO_Port,Speak3_Pin,GPIO_PIN_SET);
	HAL_GPIO_WritePin(Speak4_GPIO_Port,Speak4_Pin,GPIO_PIN_RESET);
	HAL_GPIO_WritePin(Speak5_GPIO_Port,Speak5_Pin,GPIO_PIN_SET);

  /* EXTI interrupt init*/
  HAL_NVIC_SetPriority(EXTI0_IRQn, 5, 0);
  HAL_NVIC_EnableIRQ(EXTI0_IRQn);

  HAL_NVIC_SetPriority(EXTI3_IRQn, 5, 0);
  HAL_NVIC_EnableIRQ(EXTI3_IRQn);

  HAL_NVIC_SetPriority(EXTI15_10_IRQn, 5, 0);
  HAL_NVIC_EnableIRQ(EXTI15_10_IRQn);

}

/* USER CODE BEGIN 4 */

void HAL_GPIO_EXTI_Callback(uint16_t GPIO_Pin)
{
  /* Prevent unused argument(s) compilation warning */
  UNUSED(GPIO_Pin);
	if(GPIO_Pin == Stop_Pin)/*nut dung stop*/
	{
		HAL_GPIO_WritePin(Y9_GPIO_Port, Y9_Pin, !HAL_GPIO_ReadPin(Stop_GPIO_Port, Stop_Pin));

		if(AGV_Running == 0x00)
		{
			usSReg_System[4] = 1;
			lock = true;
		}

		if(HAL_GPIO_ReadPin(Emc_GPIO_Port, Emc_Pin) == 0)	AGV_Running = 0x00;

		AGV_Run_save = AGV_Running;
		Emc_status = 0x00;
		Bamber_status = 0x01;
		Charge_start = false;
		usSReg_Charge[0] = 0;
		usSReg_Charge[1] = 0;
		usSReg_Charge[2] = 0;
		usSReg_PLC[6] = 2;
		stop = true;

	}
	else if(GPIO_Pin == Start_Pin)/*nut start*/
	{
		if(AGV_Running == 0x04)	tool_status_up = true;
		HAL_GPIO_WritePin(Y7_GPIO_Port, Y7_Pin, !HAL_GPIO_ReadPin(Start_GPIO_Port, Start_Pin));
		if(HAL_GPIO_ReadPin(Emc_GPIO_Port, Emc_Pin) == 0)	AGV_Running = 0x01;
		AGV_Run_save = AGV_Running;
		Emc_status = 0x00;
		Bamber_status = 0x01;
		Speed_Set = 0;/*sua cho nay*/
		stop = false;
		if(lock == true)
		{
			usSReg_System[4] = 0;
			lock = false;
		}
	}
	else if(GPIO_Pin == Reset_Pin)/*nut reset*/
	{
		HAL_GPIO_WritePin(Y8_GPIO_Port, Y8_Pin, GPIO_PIN_SET);
		HAL_Delay(1000);
		NVIC_SystemReset();
	}
	else if(GPIO_Pin == Emc_Pin)/*nut dung khan cap*/
	{
		//Speed_Set = 0;
		AGV_Running = 0x03;
		Emc_status = 0x01;
	}
	else if((GPIO_Pin == Bumper_Top_Pin || GPIO_Pin == Bumper_Button_Pin))
	{
		if(AGV_Running != 0)
		{
			AGV_Running = 0x03;
			Bamber_status = 0x00;
		}
		else
		{
			if(Value_Point != 12)
			{
				AGV_Running = 0x03;
				Bamber_status = 0x00;
			}
		}
	}
}
/* USER CODE END 4 */

void StartAGV_RunTask(void *argument)
{
  /* USER CODE BEGIN 5 */
  /* Infinite loop */
  for(;;)
  {
		AGV_Control();
    osDelay(1);
  }
  /* USER CODE END 5 */
}

void AGV_ReadTask(void *argument)
{
  /* USER CODE BEGIN AGV_ReadTask */
  /* Infinite loop */
  for(;;)
  {
		Charge_Check();
		Charge_Control();
		osDelay(1);
  }
  /* USER CODE END AGV_ReadTask */
}

void StartTask03(void *argument)
{
  /* USER CODE BEGIN StartTask03 */
  /* Infinite loop */
  for(;;)
  {
		Read_Control();
    osDelay(1);
  }
  /* USER CODE END StartTask03 */
}

void StartTask04(void *argument)
{
  /* USER CODE BEGIN StartTask04 */
  /* Infinite loop */
  for(;;)
  {
		EMC_Control();
		AGV_Read_Err();
    osDelay(1);
  }
  /* USER CODE END StartTask04 */
}

void StartTask05(void *argument)
{
  /* USER CODE BEGIN StartTask05 */
  /* Infinite loop */
  for(;;)
  {
		System_Protocol();
		PLC_Protocol();
    osDelay(1);
  }
  /* USER CODE END StartTask05 */
}

void HAL_TIM_PeriodElapsedCallback(TIM_HandleTypeDef *htim)
{
  if (htim->Instance == TIM14) {
    HAL_IncTick();
  }
  /* USER CODE BEGIN Callback 1 */
	if(htim->Instance == TIM9)
	{
	 counter_bat++;
   if(AGV_Running == 1)
	 {
		counter_can++;
	 }
	 Back_counter++;
	 if(Back_counter > 300)
	 {
		Back_counter = 1000;
	 }
	 if(AGV_Running == 0)
	 {
			Charge_counter++;
	 }
	 if(count_tool_en)
	 {
		 count_tool++;
		 if(count_tool >= 250)
			 count_tool = 255;
	 }
	 if(counter_can > 150)
	 {
		 AGV_Running = 0x03;
		 counter_can = 170;
	 }
	 if(counter_bat > 15)
	 {
		 counter_bat = 20;
	 }
	 if(counter_sys > 15)
	 {
		 counter_sys = 20;
	 }
	 if(Charge_counter > 1500)
	 {
		Charge_counter = 3500;
	 }
	 if(usSReg_System[40] == 1)/*stop emc btn4*/
	 {
		 AGV_Running = 0x03;
		 Emc_status = 0x01;
	 }
	 if(usSReg_System[41] == 1)/*btn3*/
	 {
			HAL_GPIO_WritePin(Y9_GPIO_Port, Y9_Pin, !HAL_GPIO_ReadPin(Stop_GPIO_Port, Stop_Pin));
			if(HAL_GPIO_ReadPin(Emc_GPIO_Port, Emc_Pin) == 0)	AGV_Running = 0x00;
		  {
				AGV_Run_save = AGV_Running;
				usSReg_System[40] = 0;
			}
			Emc_status = 0x00;
			Bamber_status = 0x01;
			Charge_start = false;
			usSReg_System[41] = 0;
			usSReg_PLC[6] = 2;

	 }
	 if(usSReg_System[42] == 1)/*start btn2*/
	 {
		 if(AGV_Running == 0x04)	tool_status_up = true;
		HAL_GPIO_WritePin(Y7_GPIO_Port, Y7_Pin, !HAL_GPIO_ReadPin(Start_GPIO_Port, Start_Pin));
		if(HAL_GPIO_ReadPin(Emc_GPIO_Port, Emc_Pin) == 0)
		{
			AGV_Running = 0x01;
		}
		AGV_Run_save = AGV_Running;
		Emc_status = 0x00;
		Bamber_status = 0x01;
		Speed_Set = 0;/*sua cho nay*/
		usSReg_System[42] = 0;
	 }
	 if(usSReg_System[43] == 1)
	 {
		 HAL_GPIO_WritePin(Y8_GPIO_Port, Y8_Pin, GPIO_PIN_SET);
		NVIC_SystemReset();
	 }
//	 if(!Charge_start && AGV_Running != 3 && !stop && AGV_Running != 0)
//	 {
//
//	 }
//	 else
//	 {
//			HAL_GPIO_WritePin(Speak1_GPIO_Port,Speak1_Pin,GPIO_PIN_RESET);
//			HAL_GPIO_WritePin(Speak2_GPIO_Port,Speak2_Pin,GPIO_PIN_SET);
//			HAL_GPIO_WritePin(Speak3_GPIO_Port,Speak3_Pin,GPIO_PIN_SET);
//			HAL_GPIO_WritePin(Speak4_GPIO_Port,Speak4_Pin,GPIO_PIN_RESET);
//			HAL_GPIO_WritePin(Speak5_GPIO_Port,Speak5_Pin,GPIO_PIN_SET);
//	 }

	}
  /* USER CODE END Callback 1 */
}

void Error_Handler(void)
{
  __disable_irq();
  while (1)
  {
  }
}

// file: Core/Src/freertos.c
/* USER CODE BEGIN Header */
/**
  ******************************************************************************
  * File Name          : freertos.c
  * Description        : Code for freertos applications
  ******************************************************************************
  * @attention
  *
  * Copyright (c) 2022 STMicroelectronics.
  * All rights reserved.
  *
  * This software is licensed under terms that can be found in the LICENSE file
  * in the root directory of this software component.
  * If no LICENSE file comes with this software, it is provided AS-IS.
  *
  ******************************************************************************
  */
/* USER CODE END Header */

#include "FreeRTOS.h"
#include "task.h"
#include "main.h"

/* USER CODE BEGIN Includes */
#include "semphr.h"
#include "ESA_Control.h"

/* USER CODE END Includes */

/* USER CODE BEGIN PTD */
modbus_t Control[7];

uint16_t time_delay = 100;
/* Definitions myTaskDefault */
osThreadId_t myTaskDefaultHandle;
const osThreadAttr_t myTaskDefault_attributes = {
  .name = "myTaskDefaultHandle",
  .stack_size = 128 * 4,
  .priority = (osPriority_t) osPriorityNormal,
};

/* Definitions for myTaskMaster */
osThreadId_t myTaskMasterHandle;
const osThreadAttr_t myTaskMaster_attributes = {
  .name = "myTaskMaster",
  .stack_size = 256 * 4,
  .priority = (osPriority_t) osPriorityNormal,
};
/* Definitions for TaskmyTaskSlave */
osThreadId_t TaskmyTaskSlaveHandle;
const osThreadAttr_t TaskmyTaskSlave_attributes = {
  .name = "TaskmyTaskSlave",
  .stack_size = 256 * 4,
  .priority = (osPriority_t) osPriorityNormal,
};
/* USER CODE END PTD */

/* USER CODE BEGIN PD */
void StartTaskDefault(void *argument);
void StartTaskMaster(void *argument);
void StartTasSlave(void *argument);
void MX_FREERTOS_Init(void); /* (MISRA C 2004 rule 8.1) */

/* USER CODE END PD */

/* USER CODE BEGIN Application */
void MX_FREERTOS_Init(void) {
  /* USER CODE BEGIN Init */

  /* USER CODE END Init */

  /* USER CODE BEGIN RTOS_MUTEX */
  /* add mutexes, ... */
  /* USER CODE END RTOS_MUTEX */

  /* USER CODE BEGIN RTOS_SEMAPHORES */
  /* add semaphores, ... */
  /* USER CODE END RTOS_SEMAPHORES */

  /* USER CODE BEGIN RTOS_TIMERS */
  /* start timers, add new ones, ... */
  /* USER CODE END RTOS_TIMERS */

  /* USER CODE BEGIN RTOS_QUEUES */
  /* add queues, ... */
  /* USER CODE END RTOS_QUEUES */

  /* Create the thread(s) */

	/* creation of myTaskDefault */
  myTaskDefaultHandle = osThreadNew(StartTaskDefault, NULL, &myTaskDefault_attributes);

  /* creation of myTaskMaster */
  myTaskMasterHandle = osThreadNew(StartTaskMaster, NULL, &myTaskMaster_attributes);

  /* creation of TaskmyTaskSlave */
  TaskmyTaskSlaveHandle = osThreadNew(StartTasSlave, NULL, &TaskmyTaskSlave_attributes);

  /* USER CODE BEGIN RTOS_THREADS */
  /* add threads, ... */
  /* USER CODE END RTOS_THREADS */

  /* USER CODE BEGIN RTOS_EVENTS */
  /* add events, ... */
  /* USER CODE END RTOS_EVENTS */

}

/* USER CODE BEGIN Header_StartTaskDefault */
/**
* @brief Function implementing the TaskmyTaskDefault thread.
* @param argument: Not used
* @retval None
*/
/* USER CODE END Header_StartTasSlave */
void StartTaskDefault(void *argument)
{
  /* USER CODE BEGIN StartTaskDefault */
  /* Infinite loop */
  for(;;)
  {
		HAL_GPIO_TogglePin(Led_Run_GPIO_Port, Led_Run_Pin);
		HAL_GPIO_TogglePin(Led_Err_GPIO_Port, Led_Err_Pin);
		time_delay --;
		if(time_delay < 10 || time_delay > 200) time_delay = 200;
		osDelay(time_delay);
  }
  /* USER CODE END StartTaskDefault */
}

/* USER CODE BEGIN Header_StartTaskMaster */
/**
* @brief Function implementing the myTaskMaster thread.
* @param argument: Not used
* @retval None
*/
/* USER CODE END Header_StartTaskMaster */
void StartTaskMaster(void *argument)
{
  /* USER CODE BEGIN StartTaskMaster */

	/*Read Control*/
	Control[0].u8id 			 = Control_ID; // slave address
	Control[0].u8fct 		 	 = 0x04; // function code (this one is registers read)
	Control[0].u16RegAdd   = Start_Control_Read; // start address in slave
	Control[0].u16CoilsNo  = 49; // number of elements (coils or registers) to read
	Control[0].u16reg 		 = usSReg_Control_Read; // pointer to a memory array

	/*Write Control*/
	Control[1].u8id 			 = Control_ID; // slave address
	Control[1].u8fct 		 	 = 0x10; // function code (this one is registers read)
	Control[1].u16RegAdd   = Start_Control_Write; // start address in slave
	Control[1].u16CoilsNo  = 19; // number of elements (coils or registers) to read
	Control[1].u16reg 		 = usSReg_Control_Write; // pointer to a memory array

	Control[2].u8id 			 = 1; // slave address
	Control[2].u8fct 		 	 = 0x03; // function code (this one is registers read)
	Control[2].u16RegAdd   = 0; // start address in slave
	Control[2].u16CoilsNo  = 41; // number of elements (coils or registers) to read
	Control[2].u16reg 		 = usSReg_Battery; // pointer to a memory array

    /* Infinite loop */
    for(;;)
    {
    	 ModbusQuery(&Control_Port, Control[0]); // make a query
			 ulTaskNotifyTake(pdTRUE, 1); // block until query finishes or timeout
    	 osDelay(1);
    	 ModbusQuery(&Control_Port, Control[1]); // make a query
    	 ulTaskNotifyTake(pdTRUE, 1); // block until query finishes or timeout
    	 osDelay(1);
			 ModbusQuery(&Battery_Port, Control[2]); // make a query
    	 ulTaskNotifyTake(pdTRUE, 1); // block until query finishes or timeout
    	 osDelay(1);

    }
  /* USER CODE END StartTaskMaster */
}

/* USER CODE BEGIN Header_StartTasSlave */
/**
* @brief Function implementing the TaskmyTaskSlave thread.
* @param argument: Not used
* @retval None
*/
/* USER CODE END Header_StartTasSlave */
void StartTasSlave(void *argument)
{
  /* USER CODE BEGIN StartTasSlave */
  /* Infinite loop */
  for(;;)
  {
		xSemaphoreTake(System_Port.ModBusSphrHandle, portMAX_DELAY);
		xSemaphoreGive(System_Port.ModBusSphrHandle);
		osDelay(1);
		xSemaphoreTake(PLC_Port.ModBusSphrHandle, portMAX_DELAY);
		xSemaphoreGive(PLC_Port.ModBusSphrHandle);
		osDelay(1);
		xSemaphoreTake(Charge_Port.ModBusSphrHandle, portMAX_DELAY);
		xSemaphoreGive(Charge_Port.ModBusSphrHandle);
		osDelay(1);
  }
  /* USER CODE END StartTasSlave */
}

/* Private application code --------------------------------------------------*/
/* USER CODE END Application */
